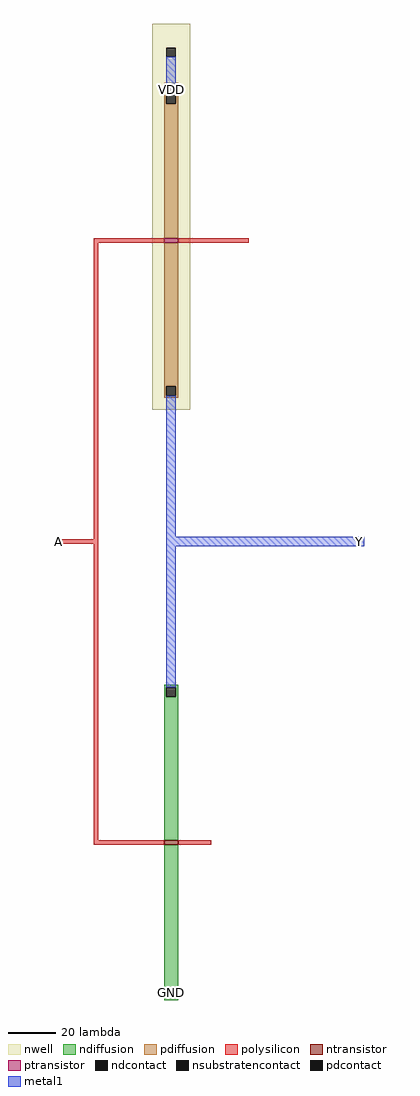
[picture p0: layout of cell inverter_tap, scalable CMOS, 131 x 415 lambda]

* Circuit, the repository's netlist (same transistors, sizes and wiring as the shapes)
* NGSPICE file created from inverter_tap.ext - technology: scmos

.global Vdd Gnd 

.subckt inverter_tap VDD GND A Y
M1000 VDD A Y VDD pfet w=6u l=2u
+  ad=0.396n pd=0.144m as=0.396n ps=0.144m
M1001 Y A GND Gnd nfet w=6u l=2u
+  ad=0.396n pd=0.144m as=0.396n ps=0.144m
.ends

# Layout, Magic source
magic
tech scmos
<< nwell >>
rect 80 288 96 452
<< polysilicon >>
rect 55 359 85 361
rect 91 359 121 361
rect 55 233 57 359
rect 39 231 57 233
rect 55 105 57 231
rect 55 103 85 105
rect 91 103 105 105
<< ndiffusion >>
rect 85 170 91 171
rect 85 166 86 170
rect 90 166 91 170
rect 85 105 91 166
rect 85 37 91 103
<< pdiffusion >>
rect 85 422 91 427
rect 85 418 86 422
rect 90 418 91 422
rect 85 361 91 418
rect 85 298 91 359
rect 85 294 86 298
rect 90 294 91 298
rect 85 293 91 294
<< metal1 >>
rect 86 422 90 438
rect 86 234 90 294
rect 86 230 170 234
rect 86 170 90 230
<< ntransistor >>
rect 85 103 91 105
<< ptransistor >>
rect 85 359 91 361
<< ndcontact >>
rect 86 166 90 170
<< pdcontact >>
rect 86 418 90 422
rect 86 294 90 298
<< nsubstratencontact >>
rect 86 438 90 442
<< labels >>
rlabel pdiffusion 85 421 91 427 0 VDD
port 1 nsew
rlabel ndiffusion 85 37 91 43 0 GND
port 2 nsew
rlabel polysilicon 39 231 41 233 0 A
port 3 nsew
rlabel metal1 166 230 170 234 0 Y
port 4 nsew
<< end >>
